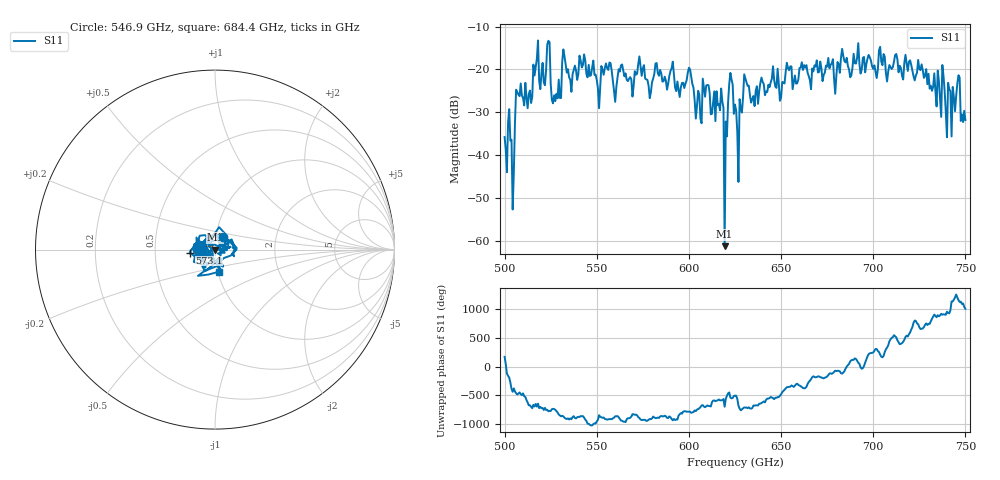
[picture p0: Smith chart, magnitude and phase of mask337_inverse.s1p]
!Created with skrf (http://scikit-rf.org).
# GHz S MA R 50.0
!freq magS11 angS11
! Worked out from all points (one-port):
!   401 points, 500 GHz to 750 GHz, reference 50 ohm
!   lowest |S11| = -61.2 dB at 619.4 GHz (marker M1), VSWR 1.00, Z = 50.1 + j0.0314 ohm
!   |S11| at or under -10 dB: start of sweep to end of sweep
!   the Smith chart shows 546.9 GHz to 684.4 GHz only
!   S11 on the Smith chart (normalised r, x): 546.9 GHz: 1.09, +0.16; 573.1 GHz: 0.75, -0.03; 684.4 GHz: 1.01, -0.25
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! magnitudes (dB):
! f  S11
! 500 GHz  -35.8
! 504.4 GHz  -52.7
! 507.5 GHz  -25.9
! 513.8 GHz  -24.9
! 516.9 GHz  -19.4
! 520.6 GHz  -18.5
! 523.8 GHz  -13.3
! 526.9 GHz  -26.0
! 531.2 GHz  -18.2
! 546.9 GHz  -21.3
! 562.5 GHz  -20.5
! 573.1 GHz  -16.9
! 593.8 GHz  -22.8
! 600 GHz  -19.6
! 605 GHz  -25.0
! 617.5 GHz  -24.4
! 619.4 GHz  -61.2
! 622.5 GHz  -20.8
! 625 GHz  -28.2
! 627.5 GHz  -26.9
! 631.2 GHz  -23.0
! 656.2 GHz  -24.6
! 684.4 GHz  -18.1
! 687.5 GHz  -21.8
! 718.8 GHz  -20.3
! 741.2 GHz  -24.6
! 745.6 GHz  -23.3
! 750 GHz  -31.8
